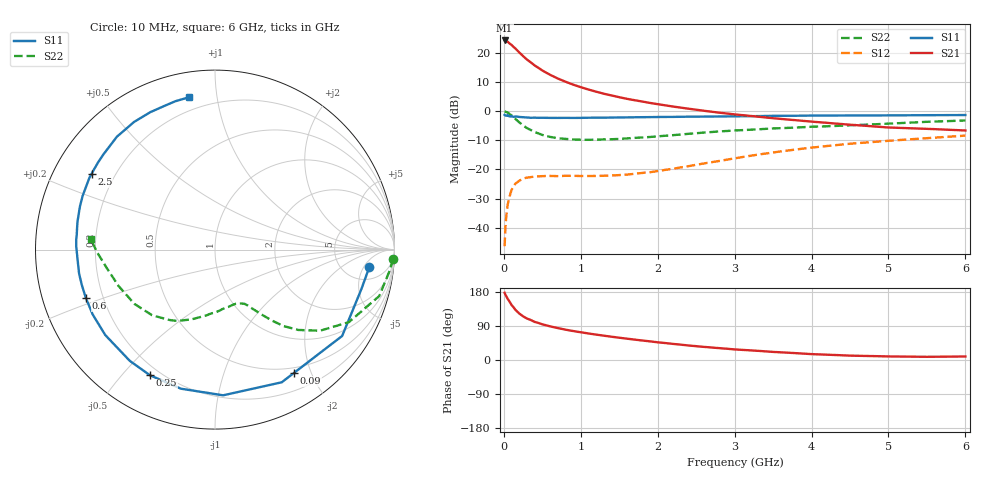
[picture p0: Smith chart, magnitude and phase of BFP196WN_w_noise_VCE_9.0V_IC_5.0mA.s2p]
! Infineon Technologies  Discrete & RF Semiconductors
! BFP196WN
! VCE =  9.0 V,  IC =  5.0 mA
! Common Emitter S-Parameters:  Jan 2017
# GHz  S  MA  R  50
!  f  S11  S21  S12  S22
! GHz  MAG  ANG  MAG  ANG  MAG  ANG  MAG  ANG
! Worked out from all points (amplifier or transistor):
!   77 points, 10 MHz to 6 GHz, reference 50 ohm
!   highest |S21| = 24.3 dB at 10 MHz (marker M1)
!   |S21| within 3 dB of that: start of sweep to 159.2 MHz
!   unconditionally stable (mu >= 1): 1.367 GHz to 2.599 GHz
!   at 130 MHz: K = 0.12, MSG = 23.9 dB, |S12| = -25.7 dB
!   at 2.2 GHz: K = 1.09, MAG = 8.8 dB, |S12| = -19.8 dB
!   at 6 GHz: K = 0.89, MSG = 0.9 dB, |S12| = -8.4 dB
!   lowest NFmin = 1.08 dB at 450 MHz
!   S11 on the Smith chart (normalised r, x): 10 MHz: 9, -7; 90 MHz: 0.43, -1.75; 250 MHz: 0.16, -0.60; 600 MHz: 0.14, -0.18; 2.5 GHz: 0.12, +0.28; 6 GHz: 0.13, +0.84
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0.01  0.866 -6.3  16.44 177.3  0.0048 86.2  0.9925 -3.0
0.02  0.8448 -15.1  16.02 172.4  0.0098 86.6  0.9823 -6.4
0.05  0.8564 -34.2  15.65 161.3  0.0248 72.9  0.951 -15.8
0.09  0.8159 -57.4  14.08 148.7  0.0402 60.6  0.865 -25.7
0.1  0.8275 -63.3  13.8 145.1  0.0442 58.9  0.848 -28.5
0.15  0.8131 -86.8  11.98 132.5  0.057 47.7  0.7389 -37.7
0.2  0.7979 -103.8  10.25 122.8  0.0638 40.7  0.6445 -44.0
0.25  0.7883 -117.4  8.862 115.3  0.0694 35.4  0.5724 -48.1
0.3  0.7809 -127.4  7.738 109.5  0.0724 31.2  0.5135 -50.9
0.4  0.7749 -142.1  6.125 100.6  0.0753 27.1  0.4387 -54.7
0.5  0.7714 -152.1  5.015 94.2  0.0767 24.6  0.3915 -57.5
0.6  0.7684 -159.5  4.234 88.9  0.0773 23.2  0.3624 -59.5
0.7  0.7678 -165.2  3.653 84.3  0.0767 23.3  0.3442 -61.4
0.8  0.7689 -170.1  3.22 80.1  0.0777 24.5  0.3345 -63.8
1.1  0.7731 179.0  2.36 70.0  0.0771 28.3  0.3228 -71.4
1.5  0.7817 168.6  1.741 58.8  0.0799 38.0  0.3341 -83.0
2.1  0.797 156.0  1.262 44.7  0.0983 53.5  0.3788 -100.5
2.5  0.8068 148.5  1.061 36.5  0.1201 60.1  0.4189 -111.1
3.1  0.8189 137.9  0.857 26.7  0.1629 63.1  0.4732 -125.1
4.1  0.8419 121.0  0.647 14.8  0.2446 58.1  0.5457 -148.9
5.1  0.8497 108.5  0.52 9.2  0.317 49.0  0.6205 -172.3
6  0.8607 99.7  0.467 9.3  0.3809 40.8  0.6932 175.3
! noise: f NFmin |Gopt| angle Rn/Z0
0.45  1.08  0.44  121  0.07
0.9  1.21  0.58  158  0.06
1.9  2.72  0.75  203  0.15
2.4  3.62  0.76  211  0.29
